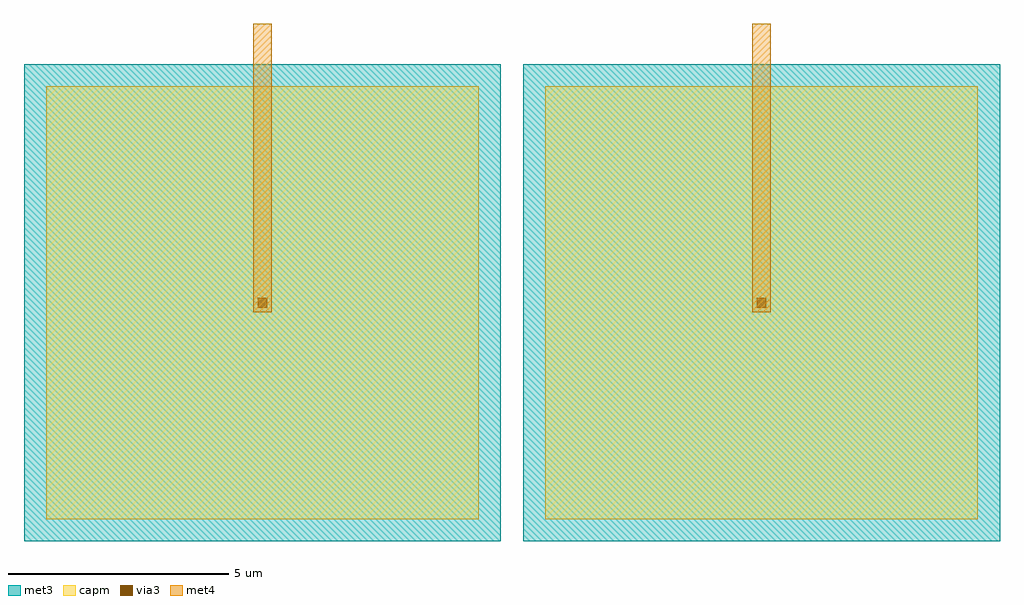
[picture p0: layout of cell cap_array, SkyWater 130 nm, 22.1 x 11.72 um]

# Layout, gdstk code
import gdstk
lib = gdstk.Library(unit=1e-6, precision=1e-09)
def R(c, l, rs):  # rectangles x0, y0, x1, y1
    for r in rs: c.add(gdstk.rectangle(r[:2], r[2:], *l))
met3 = (70, 20)
via3 = (70, 44)
met4 = (71, 20)
capm = (89, 44)

cap_array = lib.new_cell('cap_array')
R(cap_array, met3, [(0,0,10.8,10.8), (11.3,0,22.1,10.8)])
R(cap_array, via3, [(5.29,5.29,5.51,5.51), (16.59,5.29,16.81,5.51)])
R(cap_array, met4, [(5.19,5.19,5.61,5.61), (16.49,5.19,16.91,5.61), (5.19,5.61,5.61,11.3), (16.49,5.61,16.91,11.3), (5.19,11.3,5.61,11.72), (16.49,11.3,16.91,11.72)])
R(cap_array, capm, [(0.5,0.5,10.3,10.3), (11.8,0.5,21.6,10.3)])

lib.write_gds('cap_array.gds')
